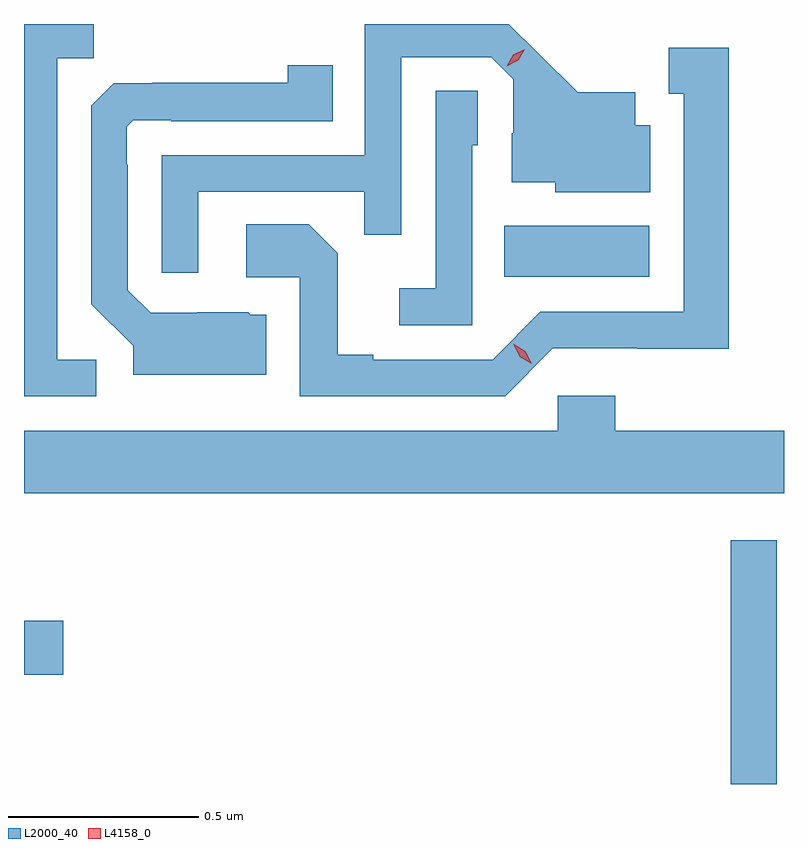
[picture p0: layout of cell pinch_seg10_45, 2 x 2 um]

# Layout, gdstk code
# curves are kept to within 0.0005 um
import gdstk
lib = gdstk.Library(unit=1e-6, precision=1e-09)
def R(c, l, rs):  # rectangles x0, y0, x1, y1
    for r in rs: c.add(gdstk.rectangle(r[:2], r[2:], *l))
def P(c, l, *ps):  # polygons
    for p in ps: c.add(gdstk.Polygon(p, *l))
L2000_40 = (2000, 40)
L4158_0 = (4158, 0)

pinch_seg10_45 = lib.new_cell('pinch_seg10_45')
R(pinch_seg10_45, L2000_40, [(732.036,1287.563,732.157,1288.204), (730.176,1287.851,730.279,1287.993), (731.44,1288.898,731.821,1289.032)])
P(pinch_seg10_45, L2000_40, [(730.366,1288.68),(730.263,1288.68),(730.263,1289.473),(730.359,1289.473),(730.359,1289.563),(730.176,1289.563),(730.176,1288.584),(730.366,1288.584)],
  [(730.635,1289.121),(731.071,1289.121),(731.071,1289.008),(731.169,1289.008),(731.169,1289.475),(731.406,1289.475),(731.463,1289.418),(731.463,1289.276),(731.459,1289.276),(731.459,1289.147),(731.574,1289.147),(731.574,1289.12),(731.824,1289.12),(731.824,1289.296),(731.785,1289.296),(731.785,1289.383),(731.633,1289.383),(731.451,1289.563),(731.073,1289.563),(731.073,1289.217),(730.539,1289.217),(730.539,1288.908),(730.635,1288.908)],
  [(731.568,1288.71),(731.79,1288.71),(731.79,1288.709),(732.031,1288.709),(732.031,1289.5),(731.873,1289.5),(731.873,1289.379),(731.912,1289.379),(731.912,1288.806),(731.535,1288.806),(731.409,1288.68),(731.095,1288.68),(731.095,1288.693),(731.001,1288.693),(731.001,1288.96),(730.925,1289.036),(730.761,1289.036),(730.761,1288.896),(730.902,1288.896),(730.902,1288.584),(731.442,1288.584)],
  [(730.813,1288.798),(730.772,1288.798),(730.766,1288.804),(730.632,1288.804),(730.632,1288.803),(730.509,1288.803),(730.449,1288.863),(730.449,1289.192),(730.446,1289.192),(730.446,1289.292),(730.464,1289.31),(730.564,1289.31),(730.564,1289.307),(730.988,1289.307),(730.988,1289.455),(730.87,1289.455),(730.87,1289.408),(730.513,1289.408),(730.513,1289.407),(730.412,1289.407),(730.353,1289.348),(730.353,1288.826),(730.463,1288.716),(730.463,1288.64),(730.813,1288.64)],
  [(731.355,1289.244),(731.37,1289.244),(731.37,1289.387),(731.259,1289.387),(731.259,1288.867),(731.163,1288.867),(731.163,1288.77),(731.355,1288.77)],
  [(732.176,1288.492),(731.732,1288.492),(731.732,1288.585),(731.58,1288.585),(731.58,1288.492),(730.176,1288.492),(730.176,1288.328),(732.176,1288.328)])
P(pinch_seg10_45, L4158_0, [(731.512,1288.669),(731.48,1288.688),(731.464,1288.721),(731.464,1288.721),(731.464,1288.721),(731.495,1288.702),(731.512,1288.669),(731.512,1288.669)],
  [(731.446,1289.452),(731.446,1289.452),(731.463,1289.482),(731.494,1289.497),(731.494,1289.497),(731.494,1289.497),(731.477,1289.467),(731.446,1289.452)])

lib.write_gds('pinch_seg10_45.gds')
